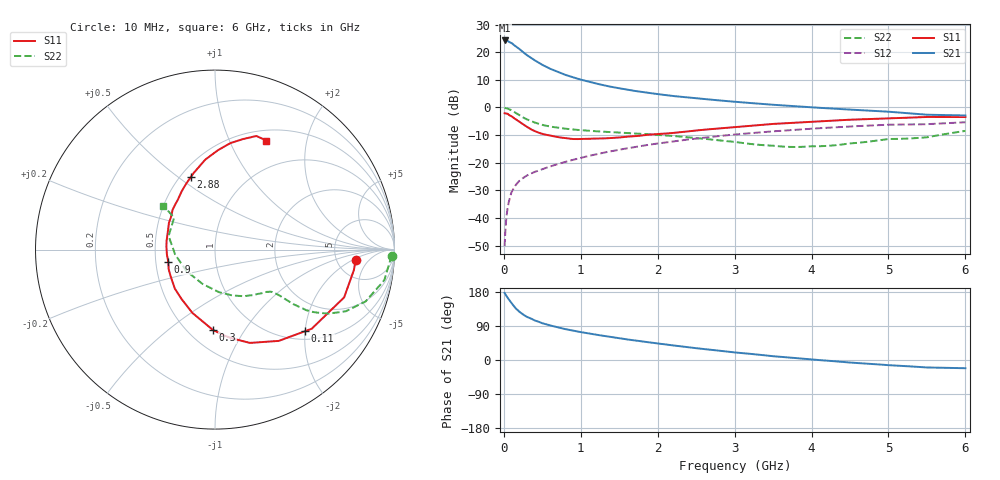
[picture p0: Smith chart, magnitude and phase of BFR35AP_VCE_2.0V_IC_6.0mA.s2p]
! Infineon Technologies  Discrete & RF Semiconductors
! BFR35AP
! VCE =  2.0 V,  IC =  6.0 mA
! Common Emitter S-Parameters:  Nov 2015
# GHz  S  MA  R  50
!  f  S11  S21  S12  S22
! GHz  MAG  ANG  MAG  ANG  MAG  ANG  MAG  ANG
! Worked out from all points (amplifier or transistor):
!   210 points, 10 MHz to 6 GHz, reference 50 ohm
!   highest |S21| = 24.2 dB at 10 MHz (marker M1)
!   |S21| within 3 dB of that: start of sweep to 197 MHz
!   unconditionally stable (mu >= 1): 702.9 MHz to 3.959 GHz; 5.43 GHz to 5.624 GHz
!   at 185 MHz: K = 0.43, MSG = 24.3 dB, |S12| = -27.1 dB
!   at 1.52 GHz: K = 1.14, MAG = 8.8 dB, |S12| = -15.2 dB
!   at 6 GHz: K = 0.99, MSG = 1.2 dB, |S12| = -5.3 dB
!   S11 on the Smith chart (normalised r, x): 10 MHz: 7.63, -2.30; 110 MHz: 1.19, -2.00; 300 MHz: 0.65, -0.73; 900 MHz: 0.58, -0.08; 2.88 GHz: 0.56, +0.56; 6 GHz: 0.62, +1.38
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0.01  0.7858 -4.2  16.31 176.9  0.0031 83.2  0.9884 -2.0
0.025  0.7773 -10.3  16.05 171.8  0.0075 84.8  0.9721 -5.1
0.05  0.7672 -20.3  15.94 163.9  0.0155 79.5  0.9587 -10.2
0.1  0.6963 -39.3  14.65 149.6  0.0293 70.9  0.8875 -19.0
0.11  0.6773 -42.2  14.25 147.3  0.0312 69.3  0.8705 -20.1
0.15  0.6203 -55.1  12.92 137.0  0.0388 64.6  0.8064 -25.2
0.2  0.555 -69.5  11.47 127.6  0.0468 60.6  0.727 -29.4
0.24  0.5054 -78.7  10.3 121.5  0.0518 58.5  0.673 -31.5
0.3  0.4471 -91.6  8.852 113.8  0.0588 56.6  0.6094 -33.6
0.4  0.375 -109.5  7.157 104.5  0.0682 55.8  0.5349 -34.8
0.5  0.3332 -123.8  5.903 97.0  0.0764 56.2  0.4825 -35.2
0.6  0.312 -135.8  5.034 91.2  0.0854 56.5  0.452 -35.3
0.7  0.2916 -146.9  4.403 86.0  0.0946 57.1  0.4311 -35.6
0.9  0.2688 -165.7  3.502 77.3  0.1132 57.7  0.3991 -36.4
1.02  0.2693 -176.0  3.138 73.0  0.1245 58.0  0.387 -37.3
1.4  0.2809 159.4  2.355 60.5  0.1621 56.9  0.3598 -42.2
2.02  0.3321 133.0  1.731 43.1  0.2251 52.5  0.3174 -53.8
2.88  0.4279 108.1  1.313 22.8  0.3126 43.3  0.2472 -79.4
3.1  0.4536 103.6  1.237 18.2  0.3332 40.4  0.2285 -88.7
4.1  0.5627 86.9  0.987 -0.2  0.4216 27.6  0.1991 -149.3
5.1  0.6423 74.6  0.819 -14.7  0.4893 13.7  0.27 159.2
6  0.6717 64.8  0.717 -21.7  0.5408 3.6  0.3771 139.6
